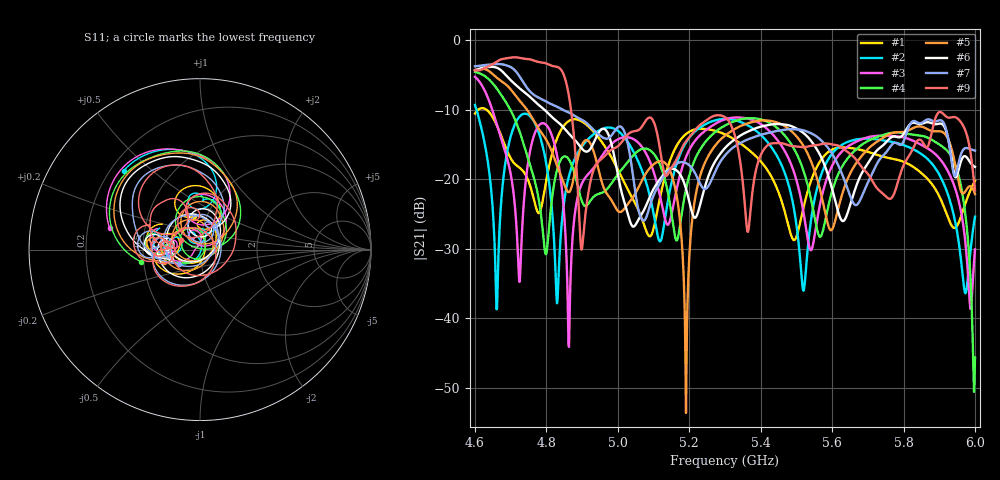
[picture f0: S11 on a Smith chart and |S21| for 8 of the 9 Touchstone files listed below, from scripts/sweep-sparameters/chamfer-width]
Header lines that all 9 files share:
! TOUCHSTONE file generated by CST MICROWAVE STUDIO
! Project name: test_tuning.cst
! Header version: 2024
! Port assignment regex: !\s*Touchstone port\s*([0-9]+)\s*=\s*(CST MWS port|CST DES external port|CST DES block port)\s*(.+)\s* \(\"(.*)\"\)(\s*mode\s*([0-9]+))?.*
! Touchstone port assignment:
! Touchstone port 1 = CST MWS port 1 ("Input1")
! Touchstone port 2 = CST MWS port 2 ("Input2")
# GHz S MA R 50
Fixed: airCoaxOuterDiameter = 3, chamferAngle = 45, connectorLength = 10, drillingHoleDiameter = 4.1, feedLength = 60, flareDiameter = 130, flareLength = 70, gratingDistance = 0, gratingGap = 1.90274, outletLength = 30, polarizerLength = 134, probe1Diameter = 1.3, probe1Distance = 14, probe1Length = 12, probe2Diameter = 1.3, probe2Distance = 0, probe2Length = 12, probeLength = 12, smaInnerDiameter = 1.3, smaOuterDiameter = 4.1, transitionCoefficient = 1.33, waveguideFeedLength = 30, waveguideSide = 50, waveguideThickness = 3, wireCount = 25, wireDiameter = 1.17699
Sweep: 4.6 GHz to 6 GHz
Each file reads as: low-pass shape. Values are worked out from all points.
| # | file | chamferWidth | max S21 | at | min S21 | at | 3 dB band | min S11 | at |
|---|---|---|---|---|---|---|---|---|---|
| 1 | chamfer_width_7.s2p | 14 | -9.79 dB | 4.62 GHz | -28.8 dB | 5.493 GHz | 4.844 GHz-4.925 GHz | -30.3 dB | 5.336 GHz |
| 2 | chamfer_width_9.s2p | 18 | -9.32 dB | 4.6 GHz | -38.7 dB | 4.66 GHz | 5.238 GHz-5.366 GHz | -42.8 dB | 5.387 GHz |
| 3 | chamfer_width_10.s2p | 20 | -5.29 dB | 4.6 GHz | -44.1 dB | 4.863 GHz | 4.6 GHz-4.635 GHz | -33.8 dB | 5.318 GHz |
| 4 | chamfer_width_11.s2p | 22 | -4.58 dB | 4.6 GHz | -50.6 dB | 5.997 GHz | 4.6 GHz-4.669 GHz | -44.5 dB | 4.838 GHz |
| 5 | chamfer_width_12.s2p | 24 | -4.12 dB | 4.621 GHz | -53.6 dB | 5.191 GHz | 4.6 GHz-4.699 GHz | -29.3 dB | 4.887 GHz |
| 6 | chamfer_width_13.s2p | 26 | -3.84 dB | 4.646 GHz | -26.8 dB | 5.044 GHz | 4.6 GHz-4.722 GHz | -24.9 dB | 5.119 GHz |
| 7 | chamfer_width_14.s2p | 28 | -3.44 dB | 4.666 GHz | -26.0 dB | 5.072 GHz | 4.6 GHz-4.739 GHz | -27.4 dB | 5.002 GHz |
| 8 | chamfer_width_15.s2p | 30 | -2.76 dB | 4.676 GHz | -23.0 dB | 5.101 GHz | 4.6 GHz-4.775 GHz | -23.4 dB | 5.049 GHz |
| 9 | chamfer_width_16.s2p | 32 | -2.46 dB | 4.711 GHz | -30.1 dB | 4.898 GHz | 4.6 GHz-4.851 GHz | -22.5 dB | 5.003 GHz |
